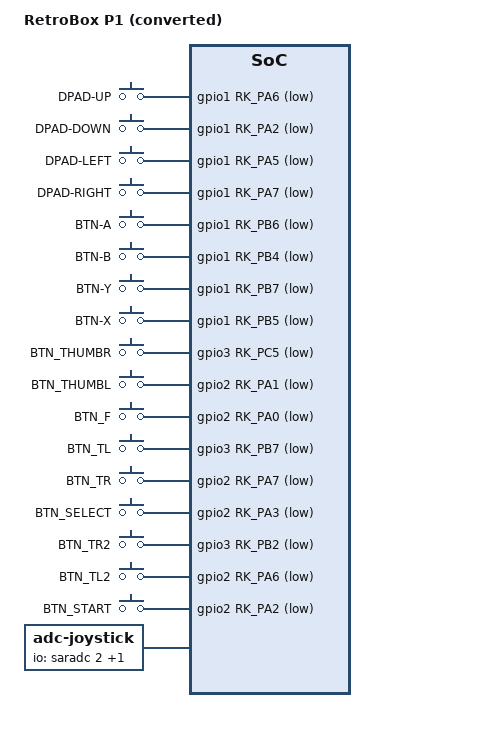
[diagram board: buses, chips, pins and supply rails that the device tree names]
// SPDX-License-Identifier: (GPL-2.0+ OR MIT)
/*
 * RetroBox P1, converted from a vendor RK3326 device tree by
 * `r36os dtb import` (boot-dtb-select D12). Do not edit: import again.
 * Source: arkos4clone/boot/dArkOS/consoles/rp1/rk3326-rp1-linux.dtb
 * SHA-256: 11b172cb9005c497c172022127cd9759ebf294348a6ce1681fdbdf727c43affb
 * Note: speaker gain: source spk-volume 3 ignored, the native safe value is used
 */

#include "rk3326-r36s-v5.dts"

/ {
	model = "RetroBox P1 (converted)";

	lume-select {
		lume,id = "arkos4clone-rp1";
		lume,priority = <0>;
		/delete-property/ lume,default;
	};

	/delete-node/ gpio-keys;
	/delete-node/ volume-keys;

	gpio-keys {
		compatible = "gpio-keys";
		pinctrl-names = "default";
		pinctrl-0 = <&btn_pins>;

		button-dpad-up {
			gpios = <&gpio1 RK_PA6 GPIO_ACTIVE_LOW>;
			label = "DPAD-UP";
			linux,code = <0x220>;
		};

		button-dpad-down {
			gpios = <&gpio1 RK_PA2 GPIO_ACTIVE_LOW>;
			label = "DPAD-DOWN";
			linux,code = <0x221>;
		};

		button-dpad-left {
			gpios = <&gpio1 RK_PA5 GPIO_ACTIVE_LOW>;
			label = "DPAD-LEFT";
			linux,code = <0x222>;
		};

		button-dpad-right {
			gpios = <&gpio1 RK_PA7 GPIO_ACTIVE_LOW>;
			label = "DPAD-RIGHT";
			linux,code = <0x223>;
		};

		button-btn-a {
			gpios = <&gpio1 RK_PB6 GPIO_ACTIVE_LOW>;
			label = "BTN-A";
			linux,code = <0x131>;
		};

		button-btn-b {
			gpios = <&gpio1 RK_PB4 GPIO_ACTIVE_LOW>;
			label = "BTN-B";
			linux,code = <0x130>;
		};

		button-btn-y {
			gpios = <&gpio1 RK_PB7 GPIO_ACTIVE_LOW>;
			label = "BTN-Y";
			linux,code = <0x134>;
		};

		button-btn-x {
			gpios = <&gpio1 RK_PB5 GPIO_ACTIVE_LOW>;
			label = "BTN-X";
			linux,code = <0x133>;
		};

		button-btn-thumbr {
			gpios = <&gpio3 RK_PC5 GPIO_ACTIVE_LOW>;
			label = "BTN_THUMBR";
			linux,code = <0x2c3>;
		};

		button-btn-thumbl {
			gpios = <&gpio2 RK_PA1 GPIO_ACTIVE_LOW>;
			label = "BTN_THUMBL";
			linux,code = <0x2c2>;
		};

		button-btn-f {
			gpios = <&gpio2 RK_PA0 GPIO_ACTIVE_LOW>;
			label = "BTN_F";
			linux,code = <0x2c4>;
		};

		button-btn-tl {
			gpios = <&gpio3 RK_PB7 GPIO_ACTIVE_LOW>;
			label = "BTN_TL";
			linux,code = <0x136>;
		};

		button-btn-tr {
			gpios = <&gpio2 RK_PA7 GPIO_ACTIVE_LOW>;
			label = "BTN_TR";
			linux,code = <0x137>;
		};

		button-btn-select {
			gpios = <&gpio2 RK_PA3 GPIO_ACTIVE_LOW>;
			label = "BTN_SELECT";
			linux,code = <0x2c0>;
		};

		button-btn-tr2 {
			gpios = <&gpio3 RK_PB2 GPIO_ACTIVE_LOW>;
			label = "BTN_TR2";
			linux,code = <0x139>;
		};

		button-btn-tl2 {
			gpios = <&gpio2 RK_PA6 GPIO_ACTIVE_LOW>;
			label = "BTN_TL2";
			linux,code = <0x138>;
		};

		button-btn-start {
			gpios = <&gpio2 RK_PA2 GPIO_ACTIVE_LOW>;
			label = "BTN_START";
			linux,code = <0x2c1>;
		};
	};

	/delete-node/ adc-joystick;

	/delete-node/ adc-mux;
	/delete-node/ mux-controller;

	adc-joystick {
		compatible = "adc-joystick";
		io-channels = <&saradc 2>,
			      <&saradc 1>;
		poll-interval = <10>;
		#address-cells = <1>;
		#size-cells = <0>;

		axis@0 {
			reg = <0>;
			abs-flat = <32>;
			abs-fuzz = <32>;
			abs-range = <0 1023>;
			linux,code = <ABS_Y>;
		};

		axis@1 {
			reg = <1>;
			abs-flat = <32>;
			abs-fuzz = <32>;
			abs-range = <1023 0>;
			linux,code = <ABS_X>;
		};
	};

	/delete-node/ gpio-leds;

	rk817-sound {
		simple-audio-card,hp-det-gpios = <&gpio2 RK_PC6 GPIO_ACTIVE_LOW>;
	};
};

&internal_display {
	compatible = "rocknix,generic-dsi";
	/delete-property/ vcc-supply;
	vdd-supply = <&vcc_lcd>;
	reset-gpios = <&gpio3 RK_PC0 GPIO_ACTIVE_LOW>;
	panel_description =
		"G size=73,60 delays=2,1,20,120,20 format=rgb888 lanes=2 flags=0xe03",
		"M clock=30600 horizontal=640,120,120,120 vertical=480,13,5,17 default=1",
		"I seq=b9f11283",
		"I seq=ba318105f90e0e2000000000000000442500910a0000024fd1000037",
		"I seq=b826",
		"I seq=bf021100",
		"I seq=b30c100a5003ff00000000",
		"I seq=c0737350500000087000",
		"I seq=bc46",
		"I seq=cc0b",
		"I seq=b480",
		"I seq=b20013f0",
		"I seq=e307070b0b030b00000000ff00c010",
		"I seq=c153001e1e77e1ccdd67773333",
		"I seq=b51010",
		"I seq=b66c7c",
		"I seq=e908000e0000b0b11131232810b0b127080004020000000004020000008888ba60240888888888888888ba713518888888888800000001000000000000000000",
		"I seq=ea970a820213070000000000008088ba17538888888888888188ba0642888888888888231000028000000000000000000000000000000000000000000000",
		"I seq=e000070b272d3f3b37050a0b0f110f12121800070b272d3f3b37050a0b0f110f121218",
		"I seq=11 wait=96",
		"I seq=29 wait=32";
};

&dsi {
	/delete-property/ rockchip,lane-rate;
	/delete-property/ rockchip,phy-hstt;
};

&backlight {
	pwms = <&pwm1 0 25000 0>;
	/delete-property/ num-interpolated-steps;
	brightness-levels = <0 1 2 3 4 5 6 7 8 9 10 11 12 13 14 15 16 17 18 19 20 21 22 23 24 25 26 27 28 29 30 31 32 33 34 35 36 37 38 39 40 41 42 43 44 45 46 47 48 49 50 51 52 53 54 55 56 57 58 59 60 61 62 63 64 65 66 67 68 69 70 71 72 73 74 75 76 77 78 79 80 81 82 83 84 85 86 87 88 89 90 91 92 93 94 95 96 97 98 99 100 101 102 103 104 105 106 107 108 109 110 111 112 113 114 115 116 117 118 119 120 121 122 123 124 125 126 127 128 129 130 131 132 133 134 135 136 137 138 139 140 141 142 143 144 145 146 147 148 149 150 151 152 153 154 155 156 157 158 159 160 161 162 163 164 165 166 167 168 169 170 171 172 173 174 175 176 177 178 179 180 181 182 183 184 185 186 187 188 189 190 191 192 193 194 195 196 197 198 199 200 201 202 203 204 205 206 207 208 209 210 211 212 213 214 215 216 217 218 219 220 221 222 223 224 225 226 227 228 229 230 231 232 233 234 235 236 237 238 239 240 241 242 243 244 245 246 247 248 249 250 251 252 253 254 255>;
	default-brightness-level = <200>;
};

&battery {
	charge-full-design-microamp-hours = <3000000>;
	voltage-max-design-microvolt = <4046000>;
	voltage-min-design-microvolt = <3300000>;
	ocv-capacity-table-0 = <4046000 100>,
				<4001000 95>,
				<3967000 90>,
				<3940000 85>,
				<3910000 80>,
				<3870000 75>,
				<3830000 70>,
				<3790000 65>,
				<3750000 60>,
				<3720000 55>,
				<3690000 50>,
				<3650000 45>,
				<3610000 40>,
				<3570000 35>,
				<3540000 30>,
				<3500000 25>,
				<3460000 20>,
				<3420000 15>,
				<3380000 10>,
				<3340000 5>,
				<3300000 0>;
};

&spk_amp {
	/delete-property/ enable-gpios;
	/delete-property/ pinctrl-names;
	/delete-property/ pinctrl-0;
};

&rk817 {
	interrupt-parent = <&gpio0>;
	interrupts = <RK_PB2 IRQ_TYPE_LEVEL_LOW>;
};

&gpio0 {
	/delete-node/ joystick-mux-en-hog;
};

&gpio1 {
	/delete-node/ lcd-enable-hog;
};

&gpio3 {
	/delete-node/ lcd-stbyb-hog;
};

&btn_pins {
	rockchip,pins =
		<1 RK_PA6 RK_FUNC_GPIO &pcfg_pull_up>,
		<1 RK_PA2 RK_FUNC_GPIO &pcfg_pull_up>,
		<1 RK_PA5 RK_FUNC_GPIO &pcfg_pull_up>,
		<1 RK_PA7 RK_FUNC_GPIO &pcfg_pull_up>,
		<1 RK_PB6 RK_FUNC_GPIO &pcfg_pull_up>,
		<1 RK_PB4 RK_FUNC_GPIO &pcfg_pull_up>,
		<1 RK_PB7 RK_FUNC_GPIO &pcfg_pull_up>,
		<1 RK_PB5 RK_FUNC_GPIO &pcfg_pull_up>,
		<3 RK_PC5 RK_FUNC_GPIO &pcfg_pull_up>,
		<2 RK_PA1 RK_FUNC_GPIO &pcfg_pull_up>,
		<2 RK_PA0 RK_FUNC_GPIO &pcfg_pull_up>,
		<3 RK_PB7 RK_FUNC_GPIO &pcfg_pull_up>,
		<2 RK_PA7 RK_FUNC_GPIO &pcfg_pull_up>,
		<2 RK_PA3 RK_FUNC_GPIO &pcfg_pull_up>,
		<3 RK_PB2 RK_FUNC_GPIO &pcfg_pull_up>,
		<2 RK_PA6 RK_FUNC_GPIO &pcfg_pull_up>,
		<2 RK_PA2 RK_FUNC_GPIO &pcfg_pull_up>;
};

&hp_det {
	rockchip,pins = <2 RK_PC6 RK_FUNC_GPIO &pcfg_pull_none>;
};

&pmic_int {
	rockchip,pins = <0 RK_PB2 RK_FUNC_GPIO &pcfg_pull_up>;
};
